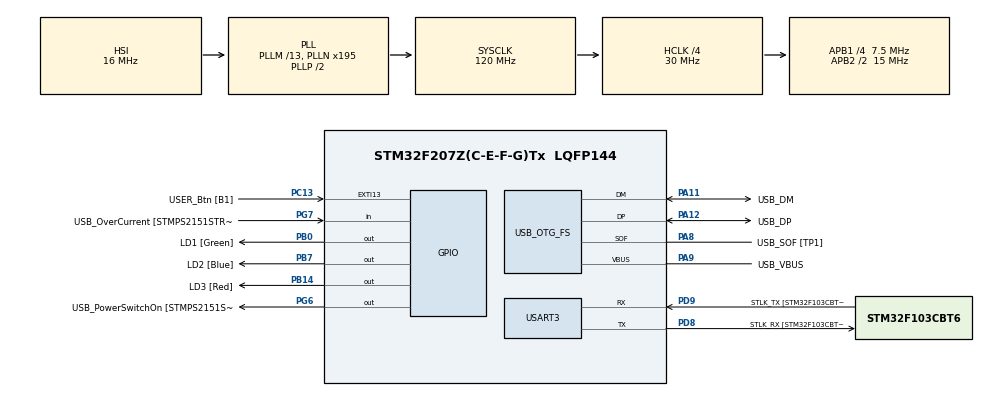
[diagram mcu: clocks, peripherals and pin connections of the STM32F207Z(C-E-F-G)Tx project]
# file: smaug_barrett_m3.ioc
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Mcu.Family=STM32F2
Mcu.Name=STM32F207Z(C-E-F-G)Tx
Mcu.Package=LQFP144
NVIC.PriorityGroup=NVIC_PRIORITYGROUP_4
PA1.GPIO_Label=RMII_REF_CLK [LAN8742A-CZ-TR_REFCLK0]
PA1.Signal=ETH_REF_CLK
PA10.GPIO_Label=USB_ID
PA10.Signal=USB_OTG_FS_ID
PA11.GPIO_Label=USB_DM
PA11.Mode=Device_Only
PA11.Signal=USB_OTG_FS_DM
PA12.GPIO_Label=USB_DP
PA12.Mode=Device_Only
PA12.Signal=USB_OTG_FS_DP
PA13.GPIO_Label=TMS
PA13.Mode=Serial_Wire
PA13.Signal=SYS_JTMS-SWDIO
PA14.GPIO_Label=TCK
PA14.Mode=Serial_Wire
PA14.Signal=SYS_JTCK-SWCLK
PA2.GPIO_Label=RMII_MDIO [LAN8742A-CZ-TR_MDIO]
PA2.Signal=ETH_MDIO
PA7.GPIO_Label=RMII_CRS_DV [LAN8742A-CZ-TR_CRS_DV]
PA7.Signal=ETH_CRS_DV
PA8.GPIO_Label=USB_SOF [TP1]
PA8.Mode=Activate_SOF_FS
PA8.Signal=USB_OTG_FS_SOF
PA9.GPIO_Label=USB_VBUS
PA9.Mode=Activate_VBUS
PA9.Signal=USB_OTG_FS_VBUS
PB0.GPIO_Label=LD1 [Green]
PB0.Signal=GPIO_Output
PB13.GPIO_Label=RMII_TXD1 [LAN8742A-CZ-TR_TXD1]
PB13.Signal=ETH_TXD1
PB14.GPIO_Label=LD3 [Red]
PB14.Signal=GPIO_Output
PB3.GPIO_Label=SWO
PB3.Signal=SYS_JTDO-SWO
PB7.GPIO_Label=LD2 [Blue]
PB7.Signal=GPIO_Output
PC1.GPIO_Label=RMII_MDC [LAN8742A-CZ-TR_MDC]
PC1.Signal=ETH_MDC
PC13.GPIO_Label=USER_Btn [B1]
PC13.Signal=GPXTI13
PC14-OSC32_IN.Mode=LSE-External-Oscillator
PC14-OSC32_IN.Signal=RCC_OSC32_IN
PC15-OSC32_OUT.Mode=LSE-External-Oscillator
PC15-OSC32_OUT.Signal=RCC_OSC32_OUT
PC4.GPIO_Label=RMII_RXD0 [LAN8742A-CZ-TR_RXD0]
PC4.Signal=ETH_RXD0
PC5.GPIO_Label=RMII_RXD1 [LAN8742A-CZ-TR_RXD1]
PC5.Signal=ETH_RXD1
PD8.GPIO_Label=STLK_RX [STM32F103CBT6_PA2]
PD8.Mode=Asynchronous
PD8.Signal=USART3_TX
PD9.GPIO_Label=STLK_TX [STM32F103CBT6_PA3]
PD9.Mode=Asynchronous
PD9.Signal=USART3_RX
PG11.GPIO_Label=RMII_TX_EN [LAN8742A-CZ-TR_TXEN]
PG11.Signal=ETH_TX_EN
PG13.GPIO_Label=RMII_TXD0 [LAN8742A-CZ-TR_TXD0]
PG13.Signal=ETH_TXD0
PG6.GPIO_Label=USB_PowerSwitchOn [STMPS2151STR_EN]
PG6.Signal=GPIO_Output
PG7.GPIO_Label=USB_OverCurrent [STMPS2151STR_FAULT]
PG7.Signal=GPIO_Input
PH0-OSC_IN.GPIO_Label=MCO [STM32F103CBT6_PA8]
PH0-OSC_IN.Mode=HSE-External-Clock-Source
PH0-OSC_IN.Signal=RCC_OSC_IN
PH1-OSC_OUT.Mode=HSE-External-Clock-Source
PH1-OSC_OUT.Signal=RCC_OSC_OUT
ProjectManager.HeapSize=0x200
ProjectManager.StackSize=0x400
ProjectManager.TargetToolchain=STM32CubeIDE
RCC.48MHZClocksFreq_Value=48000000
RCC.AHBCLKDivider=RCC_SYSCLK_DIV4
RCC.AHBFreq_Value=30000000
RCC.APB1CLKDivider=RCC_HCLK_DIV4
RCC.APB1Freq_Value=7500000
RCC.APB1TimFreq_Value=15000000
RCC.APB2CLKDivider=RCC_HCLK_DIV2
RCC.APB2Freq_Value=15000000
RCC.APB2TimFreq_Value=30000000
RCC.CortexFreq_Value=30000000
RCC.HCLKFreq_Value=30000000
RCC.HSE_VALUE=8000000
RCC.HSI_VALUE=16000000
RCC.PLLM=13
RCC.PLLMUL=RCC_PLL_MUL9
RCC.PLLN=195
RCC.PLLQ=5
RCC.PRESCALERUSB=RCC_USBCLKSOURCE_PLL_DIV1_5
RCC.SYSCLKFreq_VALUE=120000000
RCC.SYSCLKSource=RCC_SYSCLKSOURCE_PLLCLK
RCC.SYSCLKSourceVirtual=RCC_SYSCLKSOURCE_PLLCLK
RCC.USBFreq_Value=48000000
RCC.VCOOutputFreq_Value=240000000
USART3.VirtualMode=VM_ASYNC
USB_OTG_FS.VirtualMode=Device_Only
board=NUCLEO-F207ZG

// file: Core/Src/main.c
/* USER CODE BEGIN Header */
/**
  ******************************************************************************
  * @file           : main.c
  * @brief          : Main program body
  ******************************************************************************
  * @attention
  *
  * Copyright (c) 2025 STMicroelectronics.
  * All rights reserved.
  *
  * This software is licensed under terms that can be found in the LICENSE file
  * in the root directory of this software component.
  * If no LICENSE file comes with this software, it is provided AS-IS.
  *
  ******************************************************************************
  */
/* USER CODE END Header */
#include "main.h"

/* USER CODE BEGIN Includes */
#include <stdio.h>
#include <time.h>
#include <stdlib.h>
#include "ref/kem.h"
#include "ref/reduce.h"
#include "ref/randombytes.h"
#include "ref/ntt.h"

/* USER CODE END Includes */

UART_HandleTypeDef huart3;

PCD_HandleTypeDef hpcd_USB_OTG_FS;

void SystemClock_Config(void);
static void MX_GPIO_Init(void);
static void MX_USART3_UART_Init(void);
static void MX_USB_OTG_FS_PCD_Init(void);
/* USER CODE BEGIN PFP */
int __io_putchar(int ch)
{
	HAL_UART_Transmit(&huart3, (uint8_t*)&ch, 1, 100);
	return ch;
}

#define _TIMES_ 100
#define _TEST_POLYMUL_ 1000

/* USER CODE END PFP */

/* USER CODE BEGIN 0 */

void reductionTest()
{
	int32_t cnt_i;
	int32_t a;
	int32_t b;
	int32_t q;
	int32_t ret1;
	int32_t ret2;
	int64_t temp1;
	int64_t temp2;

	//int32_t kred7340033(int64_t a);
	//int32_t __asm_kred_modmul(int64_t a);
	a = 2340033;
	b = 2340039;
	temp1 = temp2 = (int64_t)a * b;

	ret1 = kred7340033(temp1);
	ret2 = __asm_kred_modmul(temp2);

	printf("%d, %d\r\n", ret1, ret2);

	// randombytes(sk + PKE_SECRETKEY_BYTES, T_BYTES);
}

/* USER CODE END 0 */

int main(void)
{

  /* USER CODE BEGIN 1 */
	uint8_t pk[PUBLICKEY_BYTES] = { 0 };
	uint8_t sk[KEM_SECRETKEY_BYTES] = { 0 };
	uint8_t ctxt[CIPHERTEXT_BYTES] = { 0 };
	uint8_t ss[CRYPTO_BYTES] = { 0 };
	uint8_t ss2[CRYPTO_BYTES] = { 0 };

	uint32_t p1[LWE_N] = { 0 };
	uint32_t p2[LWE_N] = { 0 };
	uint32_t ret[LWE_N] = { 0 };

	//address of the register
	volatile unsigned int *DWT_CYCCNT   = (volatile unsigned int *)0xE0001004;

	//address of the register
	volatile unsigned int *DWT_CONTROL  = (volatile unsigned int *)0xE0001000;

	//address of the register
	volatile unsigned int *SCB_DEMCR    = (volatile unsigned int *)0xE000EDFC;

	int before, after, consumed_keygen = 0, consumed_sign = 0, consumed_verify = 0;
	int max = 0, min = 0x1fffffff;

	*SCB_DEMCR |= 0x01000000;
	*DWT_CYCCNT = 0; // reset the counter
	*DWT_CONTROL |= 1 ; // enable the counter

  /* USER CODE END 1 */

  /* MCU Configuration--------------------------------------------------------*/

  /* Reset of all peripherals, Initializes the Flash interface and the Systick. */
  HAL_Init();

  /* Configure the system clock */
  SystemClock_Config();

  /* Initialize all configured peripherals */
  MX_GPIO_Init();
  MX_USART3_UART_Init();
  MX_USB_OTG_FS_PCD_Init();

  /* Infinite loop */
  /* USER CODE BEGIN WHILE */

  HAL_GPIO_WritePin(GPIOB, LD2_Pin | LD3_Pin, GPIO_PIN_SET);
  HAL_Delay(100);
  HAL_GPIO_WritePin(GPIOB, LD2_Pin | LD3_Pin, GPIO_PIN_RESET);
  HAL_Delay(100);

#if SMAUG_MODE==1
  printf("[hhello smaug1]\r\n");
#elif SMAUG_MODE==3
  printf("[hello smaug3]\r\n");
#elif SMAUG_MODE==5
  printf("[hello smaug5]\r\n");
#endif

  	reductionTest();

#if defined (_TEST_POLYMUL_)

  	for (int i = 0; i < _TEST_POLYMUL_; i++)
  	{
  		randombytes(p1, sizeof(p1));
  		randombytes(p2, sizeof(p2));

  		before = *DWT_CYCCNT;
  		ntt_barrett(p1);
  		after = *DWT_CYCCNT;
  		__asm_freeze_32(p1, _Q, QHalf);

  		consumed_keygen += (after - before - 2);

  		ntt_barrett(p2);
  		__asm_freeze_32(p2, _Q, QHalf);

  		before = *DWT_CYCCNT;
  		__asm_kred_pointwisemul_acc_reduce(ret, p1, p2);
		after = *DWT_CYCCNT;
		consumed_sign += (after - before - 2);

  		before = *DWT_CYCCNT;
  		invntt_barrett(ret);
		after = *DWT_CYCCNT;
		consumed_verify += (after - before - 2);
  	}

  	printf("NTT cc : %d\r\n", consumed_keygen / _TEST_POLYMUL_);
	printf("pointwise cc : %d\r\n", consumed_sign / _TEST_POLYMUL_);
	printf("invNTT cc : %d\r\n", consumed_verify / _TEST_POLYMUL_);

#endif

  	consumed_keygen = 0;
  	consumed_sign = 0;
  	consumed_verify = 0;

	for (int i = 0; i < _TIMES_; i++) {
		printf("%d\r\n", i);
		before = *DWT_CYCCNT;
		crypto_kem_keypair(pk, sk);
		after = *DWT_CYCCNT;
		consumed_keygen += (after - before - 2);

		before = *DWT_CYCCNT;
		crypto_kem_enc(ctxt, ss, pk);
		after = *DWT_CYCCNT;
		consumed_sign += (after - before - 2);

		before = *DWT_CYCCNT;
		int res = crypto_kem_dec(ss2, ctxt, sk);
		after = *DWT_CYCCNT;
		consumed_verify += (after - before - 2);
	}

	printf("keygen cc : %d\r\n", consumed_keygen / _TIMES_);
	printf("encap cc : %d\r\n", consumed_sign / _TIMES_);
	printf("decap cc : %d\r\n", consumed_verify / _TIMES_);

	printf("ss\r\n");
	for (int i = 0; i < CRYPTO_BYTES; i++) {
		printf("%d ", ss[i]);
	}

	printf("\r\nss2\r\n");
	for (int i = 0; i < CRYPTO_BYTES; i++) {
		printf("%d ", ss2[i]);
	}

	printf("\r\nsmaug done.\r\n");

  while (1)
  {
    /* USER CODE END WHILE */

    /* USER CODE BEGIN 3 */
	  //printf("Hello, world!\r\n");
  }
  /* USER CODE END 3 */
}

void SystemClock_Config(void)
{
  RCC_OscInitTypeDef RCC_OscInitStruct = {0};
  RCC_ClkInitTypeDef RCC_ClkInitStruct = {0};

  /** Initializes the RCC Oscillators according to the specified parameters
  * in the RCC_OscInitTypeDef structure.
  */
  RCC_OscInitStruct.OscillatorType = RCC_OSCILLATORTYPE_HSI;
  RCC_OscInitStruct.HSIState = RCC_HSI_ON;
  RCC_OscInitStruct.HSICalibrationValue = RCC_HSICALIBRATION_DEFAULT;
  RCC_OscInitStruct.PLL.PLLState = RCC_PLL_ON;
  RCC_OscInitStruct.PLL.PLLSource = RCC_PLLSOURCE_HSI;
  RCC_OscInitStruct.PLL.PLLM = 13;
  RCC_OscInitStruct.PLL.PLLN = 195;
  RCC_OscInitStruct.PLL.PLLP = RCC_PLLP_DIV2;
  RCC_OscInitStruct.PLL.PLLQ = 5;
  if (HAL_RCC_OscConfig(&RCC_OscInitStruct) != HAL_OK)
  {
    Error_Handler();
  }

  /** Initializes the CPU, AHB and APB buses clocks
  */
  RCC_ClkInitStruct.ClockType = RCC_CLOCKTYPE_HCLK|RCC_CLOCKTYPE_SYSCLK
                              |RCC_CLOCKTYPE_PCLK1|RCC_CLOCKTYPE_PCLK2;
  RCC_ClkInitStruct.SYSCLKSource = RCC_SYSCLKSOURCE_PLLCLK;
  RCC_ClkInitStruct.AHBCLKDivider = RCC_SYSCLK_DIV4;
  RCC_ClkInitStruct.APB1CLKDivider = RCC_HCLK_DIV4;
  RCC_ClkInitStruct.APB2CLKDivider = RCC_HCLK_DIV2;

  if (HAL_RCC_ClockConfig(&RCC_ClkInitStruct, FLASH_LATENCY_0) != HAL_OK)
  {
    Error_Handler();
  }
}

static void MX_USART3_UART_Init(void)
{

  huart3.Instance = USART3;
  huart3.Init.BaudRate = 115200;
  huart3.Init.WordLength = UART_WORDLENGTH_8B;
  huart3.Init.StopBits = UART_STOPBITS_1;
  huart3.Init.Parity = UART_PARITY_NONE;
  huart3.Init.Mode = UART_MODE_TX_RX;
  huart3.Init.HwFlowCtl = UART_HWCONTROL_NONE;
  huart3.Init.OverSampling = UART_OVERSAMPLING_16;
  if (HAL_UART_Init(&huart3) != HAL_OK)
  {
    Error_Handler();
  }

}

static void MX_USB_OTG_FS_PCD_Init(void)
{

  hpcd_USB_OTG_FS.Instance = USB_OTG_FS;
  hpcd_USB_OTG_FS.Init.dev_endpoints = 4;
  hpcd_USB_OTG_FS.Init.speed = PCD_SPEED_FULL;
  hpcd_USB_OTG_FS.Init.dma_enable = DISABLE;
  hpcd_USB_OTG_FS.Init.phy_itface = PCD_PHY_EMBEDDED;
  hpcd_USB_OTG_FS.Init.Sof_enable = ENABLE;
  hpcd_USB_OTG_FS.Init.low_power_enable = DISABLE;
  hpcd_USB_OTG_FS.Init.vbus_sensing_enable = ENABLE;
  hpcd_USB_OTG_FS.Init.use_dedicated_ep1 = DISABLE;
  if (HAL_PCD_Init(&hpcd_USB_OTG_FS) != HAL_OK)
  {
    Error_Handler();
  }

}

static void MX_GPIO_Init(void)
{
  GPIO_InitTypeDef GPIO_InitStruct = {0};

  /* GPIO Ports Clock Enable */
  __HAL_RCC_GPIOC_CLK_ENABLE();
  __HAL_RCC_GPIOH_CLK_ENABLE();
  __HAL_RCC_GPIOA_CLK_ENABLE();
  __HAL_RCC_GPIOB_CLK_ENABLE();
  __HAL_RCC_GPIOD_CLK_ENABLE();
  __HAL_RCC_GPIOG_CLK_ENABLE();

  /*Configure GPIO pin Output Level */
  HAL_GPIO_WritePin(GPIOB, LD1_Pin|LD3_Pin|LD2_Pin, GPIO_PIN_RESET);

  /*Configure GPIO pin Output Level */
  HAL_GPIO_WritePin(USB_PowerSwitchOn_GPIO_Port, USB_PowerSwitchOn_Pin, GPIO_PIN_RESET);

  /*Configure GPIO pin : USER_Btn_Pin */
  GPIO_InitStruct.Pin = USER_Btn_Pin;
  GPIO_InitStruct.Mode = GPIO_MODE_IT_RISING;
  GPIO_InitStruct.Pull = GPIO_NOPULL;
  HAL_GPIO_Init(USER_Btn_GPIO_Port, &GPIO_InitStruct);

  /*Configure GPIO pins : RMII_MDC_Pin RMII_RXD0_Pin RMII_RXD1_Pin */
  GPIO_InitStruct.Pin = RMII_MDC_Pin|RMII_RXD0_Pin|RMII_RXD1_Pin;
  GPIO_InitStruct.Mode = GPIO_MODE_AF_PP;
  GPIO_InitStruct.Pull = GPIO_NOPULL;
  GPIO_InitStruct.Speed = GPIO_SPEED_FREQ_VERY_HIGH;
  GPIO_InitStruct.Alternate = GPIO_AF11_ETH;
  HAL_GPIO_Init(GPIOC, &GPIO_InitStruct);

  /*Configure GPIO pins : RMII_REF_CLK_Pin RMII_MDIO_Pin RMII_CRS_DV_Pin */
  GPIO_InitStruct.Pin = RMII_REF_CLK_Pin|RMII_MDIO_Pin|RMII_CRS_DV_Pin;
  GPIO_InitStruct.Mode = GPIO_MODE_AF_PP;
  GPIO_InitStruct.Pull = GPIO_NOPULL;
  GPIO_InitStruct.Speed = GPIO_SPEED_FREQ_VERY_HIGH;
  GPIO_InitStruct.Alternate = GPIO_AF11_ETH;
  HAL_GPIO_Init(GPIOA, &GPIO_InitStruct);

  /*Configure GPIO pins : LD1_Pin LD3_Pin LD2_Pin */
  GPIO_InitStruct.Pin = LD1_Pin|LD3_Pin|LD2_Pin;
  GPIO_InitStruct.Mode = GPIO_MODE_OUTPUT_PP;
  GPIO_InitStruct.Pull = GPIO_NOPULL;
  GPIO_InitStruct.Speed = GPIO_SPEED_FREQ_LOW;
  HAL_GPIO_Init(GPIOB, &GPIO_InitStruct);

  /*Configure GPIO pin : RMII_TXD1_Pin */
  GPIO_InitStruct.Pin = RMII_TXD1_Pin;
  GPIO_InitStruct.Mode = GPIO_MODE_AF_PP;
  GPIO_InitStruct.Pull = GPIO_NOPULL;
  GPIO_InitStruct.Speed = GPIO_SPEED_FREQ_VERY_HIGH;
  GPIO_InitStruct.Alternate = GPIO_AF11_ETH;
  HAL_GPIO_Init(RMII_TXD1_GPIO_Port, &GPIO_InitStruct);

  /*Configure GPIO pin : USB_PowerSwitchOn_Pin */
  GPIO_InitStruct.Pin = USB_PowerSwitchOn_Pin;
  GPIO_InitStruct.Mode = GPIO_MODE_OUTPUT_PP;
  GPIO_InitStruct.Pull = GPIO_NOPULL;
  GPIO_InitStruct.Speed = GPIO_SPEED_FREQ_LOW;
  HAL_GPIO_Init(USB_PowerSwitchOn_GPIO_Port, &GPIO_InitStruct);

  /*Configure GPIO pin : USB_OverCurrent_Pin */
  GPIO_InitStruct.Pin = USB_OverCurrent_Pin;
  GPIO_InitStruct.Mode = GPIO_MODE_INPUT;
  GPIO_InitStruct.Pull = GPIO_NOPULL;
  HAL_GPIO_Init(USB_OverCurrent_GPIO_Port, &GPIO_InitStruct);

  /*Configure GPIO pins : RMII_TX_EN_Pin RMII_TXD0_Pin */
  GPIO_InitStruct.Pin = RMII_TX_EN_Pin|RMII_TXD0_Pin;
  GPIO_InitStruct.Mode = GPIO_MODE_AF_PP;
  GPIO_InitStruct.Pull = GPIO_NOPULL;
  GPIO_InitStruct.Speed = GPIO_SPEED_FREQ_VERY_HIGH;
  GPIO_InitStruct.Alternate = GPIO_AF11_ETH;
  HAL_GPIO_Init(GPIOG, &GPIO_InitStruct);

}

void Error_Handler(void)
{
  __disable_irq();
  while (1)
  {
  }
}
